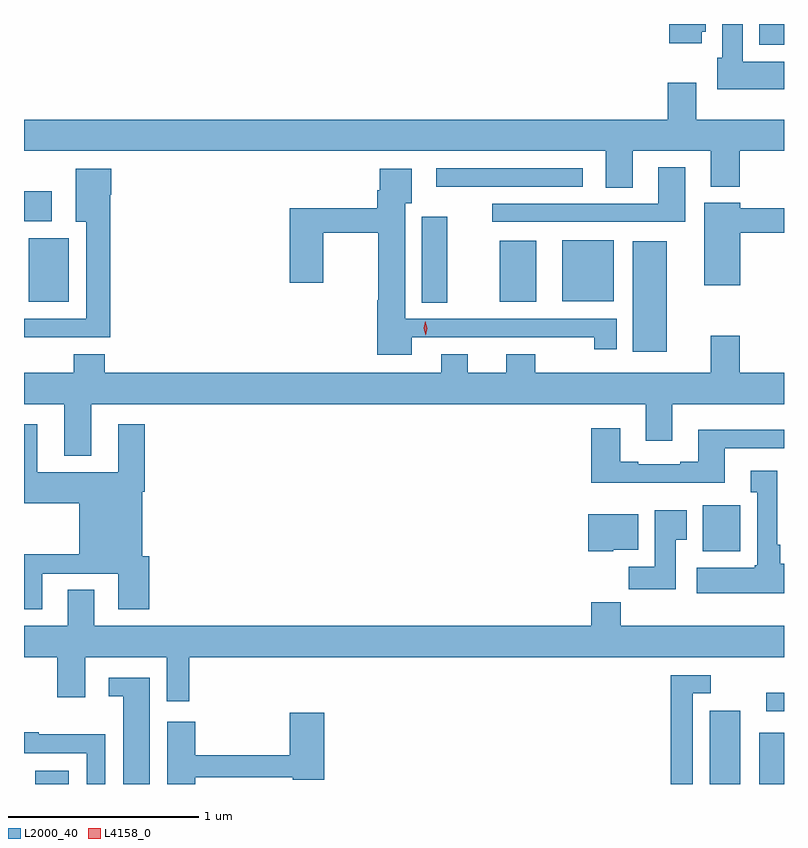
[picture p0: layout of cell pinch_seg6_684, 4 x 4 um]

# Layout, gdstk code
import gdstk
lib = gdstk.Library(unit=1e-6, precision=1e-09)
def R(c, l, rs):  # rectangles x0, y0, x1, y1
    for r in rs: c.add(gdstk.rectangle(r[:2], r[2:], *l))
def P(c, l, *ps):  # polygons
    for p in ps: c.add(gdstk.Polygon(p, *l))
L2000_40 = (2000, 40)
L4158_0 = (4158, 0)

pinch_seg6_684 = lib.new_cell('pinch_seg6_684')
R(pinch_seg6_684, L2000_40, [(468.578,922.692,468.754,922.762), (472.127,922.692,472.288,923.077), (472.388,922.692,472.518,922.963), (472.425,923.076,472.518,923.172), (472.091,923.918,472.288,924.16), (471.722,924.968,471.901,925.549), (470.612,925.225,470.746,925.678), (468.542,925.229,468.754,925.564), (471.023,925.229,471.214,925.552), (471.35,925.232,471.622,925.555), (468.518,925.653,468.664,925.813), (470.688,925.836,471.46,925.932), (472.389,926.582,472.518,926.692)])
P(pinch_seg6_684, L2000_40, [(472.518,926.494),(472.3,926.494),(472.3,926.692),(472.193,926.692),(472.193,926.514),(472.166,926.514),(472.166,926.348),(472.518,926.348)],
  [(472.084,926.652),(472.105,926.652),(472.105,926.692),(471.914,926.692),(471.914,926.592),(472.084,926.592)],
  [(471.905,926.383),(471.905,926.188),(468.518,926.188),(468.518,926.024),(471.581,926.024),(471.581,925.831),(471.721,925.831),(471.721,926.024),(472.133,926.024),(472.133,925.835),(472.286,925.835),(472.286,926.024),(472.518,926.024),(472.518,926.188),(472.057,926.188),(472.057,926.383)],
  [(471.997,925.939),(471.857,925.939),(471.857,925.746),(470.982,925.746),(470.982,925.65),(471.997,925.65)],
  [(468.971,925.794),(468.976,925.794),(468.976,925.93),(468.791,925.93),(468.791,925.652),(468.845,925.652),(468.845,925.14),(468.518,925.14),(468.518,925.043),(468.971,925.043)],
  [(470.56,925.044),(471.292,925.044),(471.292,925.043),(471.52,925.043),(471.52,924.981),(471.637,924.981),(471.637,925.14),(470.524,925.14),(470.524,925.748),(470.56,925.748),(470.56,925.93),(470.39,925.93),(470.39,925.817),(470.378,925.817),(470.378,925.723),(469.916,925.723),(469.916,925.329),(470.094,925.329),(470.094,925.594),(470.383,925.594),(470.383,925.237),(470.378,925.237),(470.378,924.95),(470.56,924.95)],
  [(472.288,925.594),(472.518,925.594),(472.518,925.723),(472.288,925.723),(472.288,925.75),(472.097,925.75),(472.097,925.316),(472.288,925.316)],
  [(468.871,924.692),(471.791,924.692),(471.791,924.498),(471.931,924.498),(471.931,924.692),(472.518,924.692),(472.518,924.856),(472.286,924.856),(472.286,925.051),(472.133,925.051),(472.133,924.856),(471.209,924.856),(471.209,924.955),(471.056,924.955),(471.056,924.856),(470.854,924.856),(470.854,924.955),(470.714,924.955),(470.714,924.856),(468.944,924.856),(468.944,924.955),(468.779,924.955),(468.779,924.856),(468.518,924.856),(468.518,924.692),(468.731,924.692),(468.731,924.419),(468.871,924.419)],
  [(468.613,923.799),(469.013,923.799),(469.013,923.613),(469.178,923.613),(469.178,923.892),(469.141,923.892),(469.141,924.23),(469.154,924.23),(469.154,924.586),(469.013,924.586),(469.013,924.334),(468.589,924.334),(468.589,924.586),(468.518,924.586),(468.518,924.17),(468.809,924.17),(468.809,923.9),(468.518,923.9),(468.518,923.613),(468.613,923.613)],
  [(472.207,924.459),(472.518,924.459),(472.518,924.556),(472.067,924.556),(472.067,924.388),(471.971,924.388),(471.971,924.375),(471.751,924.375),(471.751,924.388),(471.655,924.388),(471.655,924.565),(471.503,924.565),(471.503,924.278),(472.207,924.278)],
  [(472.518,923.85),(472.498,923.85),(472.498,923.95),(472.483,923.95),(472.483,924.34),(472.343,924.34),(472.343,924.227),(472.376,924.227),(472.376,923.844),(472.363,923.844),(472.363,923.83),(472.059,923.83),(472.059,923.696),(472.518,923.696)],
  [(471.949,923.977),(472.006,923.977),(472.006,924.133),(471.839,924.133),(471.839,923.836),(471.7,923.836),(471.7,923.718),(471.949,923.718)],
  [(471.618,923.924),(471.751,923.924),(471.751,924.112),(471.488,924.112),(471.488,923.918),(471.618,923.918)],
  [(469.387,923.36),(472.518,923.36),(472.518,923.524),(471.659,923.524),(471.659,923.648),(471.503,923.648),(471.503,923.524),(468.889,923.524),(468.889,923.714),(468.749,923.714),(468.749,923.524),(468.518,923.524),(468.518,923.36),(468.694,923.36),(468.694,923.148),(468.841,923.148),(468.841,923.36),(469.268,923.36),(469.268,923.127),(469.387,923.127)],
  [(472.038,923.169),(472.132,923.169),(472.132,923.265),(471.922,923.265),(471.922,922.692),(472.038,922.692)],
  [(469.18,923.25),(468.963,923.25),(468.963,923.153),(469.04,923.153),(469.04,922.692),(469.18,922.692)],
  [(469.418,922.728),(469.932,922.728),(469.932,922.715),(470.099,922.715),(470.099,923.068),(469.916,923.068),(469.916,922.844),(469.418,922.844),(469.418,923.02),(469.271,923.02),(469.271,922.692),(469.418,922.692)],
  [(468.945,922.954),(468.596,922.954),(468.596,922.964),(468.518,922.964),(468.518,922.853),(468.849,922.853),(468.849,922.692),(468.945,922.692)])
P(pinch_seg6_684, L4158_0, [(470.632,925.055),(470.632,925.055),(470.622,925.09),(470.63,925.127),(470.63,925.127),(470.631,925.127),(470.641,925.091),(470.633,925.055)])

lib.write_gds('pinch_seg6_684.gds')
